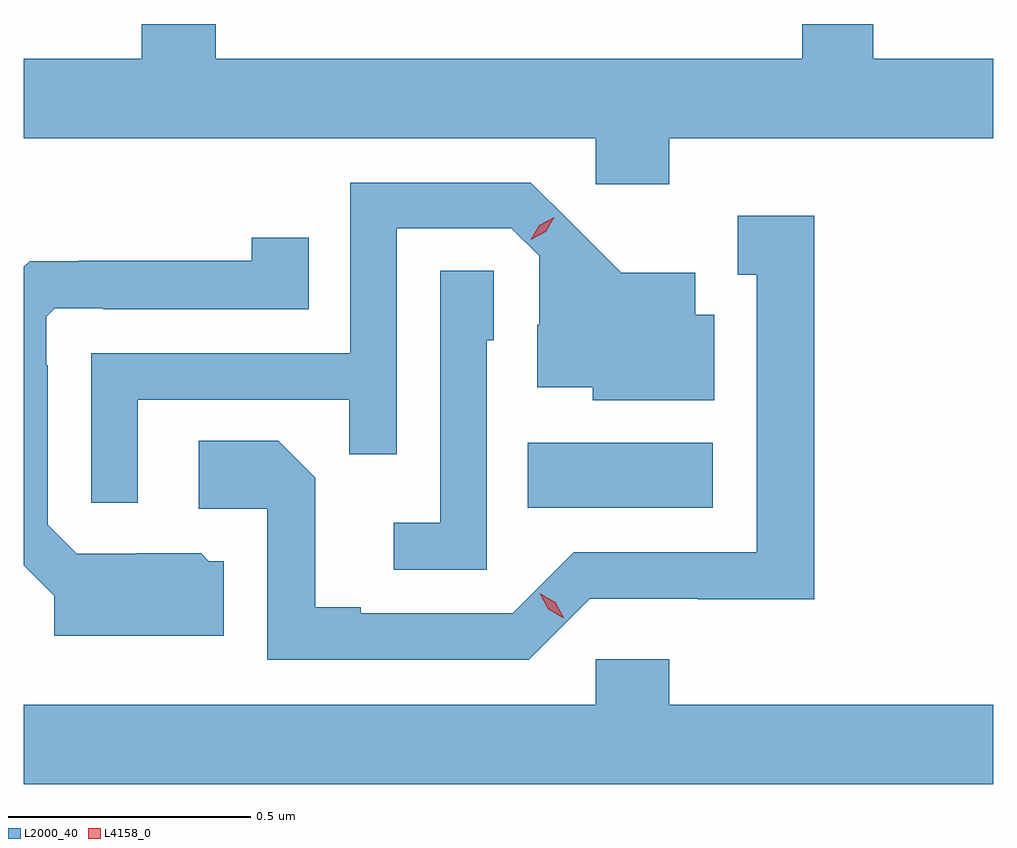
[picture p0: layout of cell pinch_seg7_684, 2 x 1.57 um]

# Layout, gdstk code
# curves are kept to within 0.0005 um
import gdstk
lib = gdstk.Library(unit=1e-6, precision=1e-09)
def R(c, l, rs):  # rectangles x0, y0, x1, y1
    for r in rs: c.add(gdstk.rectangle(r[:2], r[2:], *l))
def P(c, l, *ps):  # polygons
    for p in ps: c.add(gdstk.Polygon(p, *l))
L2000_40 = (2000, 40)
L4158_0 = (4158, 0)

pinch_seg7_684 = lib.new_cell('pinch_seg7_684')
R(pinch_seg7_684, L2000_40, [(126.268,1009.178,126.649,1009.312)])
P(pinch_seg7_684, L2000_40, [(126.56,1009.94),(127.228,1009.94),(127.228,1010.104),(126.981,1010.104),(126.981,1010.176),(126.834,1010.176),(126.834,1010.104),(125.624,1010.104),(125.624,1010.176),(125.471,1010.176),(125.471,1010.104),(125.228,1010.104),(125.228,1009.94),(126.408,1009.94),(126.408,1009.845),(126.56,1009.845)],
  [(125.463,1009.401),(125.899,1009.401),(125.899,1009.288),(125.997,1009.288),(125.997,1009.755),(126.234,1009.755),(126.291,1009.698),(126.291,1009.556),(126.287,1009.556),(126.287,1009.427),(126.402,1009.427),(126.402,1009.4),(126.652,1009.4),(126.652,1009.576),(126.613,1009.576),(126.613,1009.663),(126.461,1009.663),(126.274,1009.848),(125.901,1009.848),(125.901,1009.497),(125.367,1009.497),(125.367,1009.188),(125.463,1009.188)],
  [(126.396,1008.99),(126.618,1008.99),(126.618,1008.989),(126.859,1008.989),(126.859,1009.78),(126.701,1009.78),(126.701,1009.659),(126.74,1009.659),(126.74,1009.086),(126.363,1009.086),(126.237,1008.96),(125.923,1008.96),(125.923,1008.973),(125.829,1008.973),(125.829,1009.24),(125.753,1009.316),(125.589,1009.316),(125.589,1009.176),(125.73,1009.176),(125.73,1008.864),(126.27,1008.864)],
  [(125.641,1009.068),(125.61,1009.068),(125.594,1009.084),(125.46,1009.084),(125.46,1009.083),(125.337,1009.083),(125.277,1009.143),(125.277,1009.472),(125.274,1009.472),(125.274,1009.572),(125.292,1009.59),(125.392,1009.59),(125.392,1009.587),(125.816,1009.587),(125.816,1009.735),(125.698,1009.735),(125.698,1009.688),(125.341,1009.688),(125.341,1009.687),(125.24,1009.687),(125.228,1009.675),(125.228,1009.059),(125.291,1008.996),(125.291,1008.914),(125.641,1008.914)],
  [(126.183,1009.524),(126.198,1009.524),(126.198,1009.667),(126.087,1009.667),(126.087,1009.147),(125.991,1009.147),(125.991,1009.05),(126.183,1009.05)],
  [(127.228,1008.772),(126.56,1008.772),(126.56,1008.865),(126.408,1008.865),(126.408,1008.772),(125.228,1008.772),(125.228,1008.608),(127.228,1008.608)])
P(pinch_seg7_684, L4158_0, [(126.342,1008.95),(126.31,1008.969),(126.292,1009.002),(126.292,1009.002),(126.292,1009.002),(126.324,1008.983),(126.342,1008.951),(126.342,1008.95)],
  [(126.274,1009.731),(126.274,1009.731),(126.291,1009.761),(126.322,1009.777),(126.322,1009.777),(126.322,1009.777),(126.305,1009.747),(126.274,1009.731)])

lib.write_gds('pinch_seg7_684.gds')
